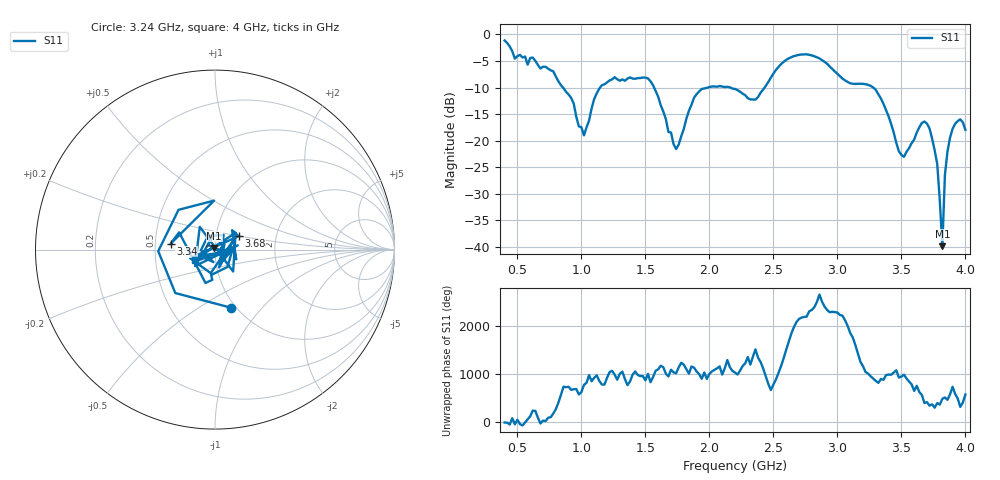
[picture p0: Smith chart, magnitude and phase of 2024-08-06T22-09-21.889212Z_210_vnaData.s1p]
!Created with skrf (http://scikit-rf.org).
# Hz S RI R 50.0
!freq ReS11 ImS11
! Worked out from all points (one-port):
!   181 points, 400 MHz to 4 GHz, reference 50 ohm
!   lowest |S11| = -39.9 dB at 3.82 GHz (marker M1), VSWR 1.02, Z = 49.5 + j0.886 ohm
!   |S11| at or under -10 dB: 855.7 MHz to 1.146 GHz (290.5 MHz wide, 29 % of centre); 1.568 GHz to 1.989 GHz (421.1 MHz wide, 23.7 % of centre); 3.28 GHz to end of sweep (the widest 3 of 4)
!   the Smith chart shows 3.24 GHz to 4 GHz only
!   S11 on the Smith chart (normalised r, x): 3.24 GHz: 0.95, -0.69; 3.34 GHz: 0.60, +0.04; 3.68 GHz: 1.28, +0.20; 4 GHz: 0.79, -0.09
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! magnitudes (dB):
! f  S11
! 400 MHz  -1.1
! 480 MHz  -4.6
! 620 MHz  -4.4
! 860 MHz  -10.1
! 1.02 GHz  -19.0
! 1.14 GHz  -10.2
! 1.3 GHz  -8.7
! 1.52 GHz  -8.3
! 1.72 GHz  -20.7
! 1.76 GHz  -20.8
! 1.92 GHz  -10.7
! 2.2 GHz  -10.3
! 2.36 GHz  -12.3
! 2.66 GHz  -4.1
! 2.86 GHz  -4.5
! 3.1 GHz  -9.2
! 3.24 GHz  -9.5
! 3.34 GHz  -12.1
! 3.48 GHz  -22.0
! 3.56 GHz  -21.4
! 3.68 GHz  -16.4
! 3.72 GHz  -17.7
! 3.78 GHz  -24.4
! 3.82 GHz  -39.9
! 3.84 GHz  -26.5
! 3.88 GHz  -19.4
! 3.96 GHz  -16.0
! 4 GHz  -18.0
